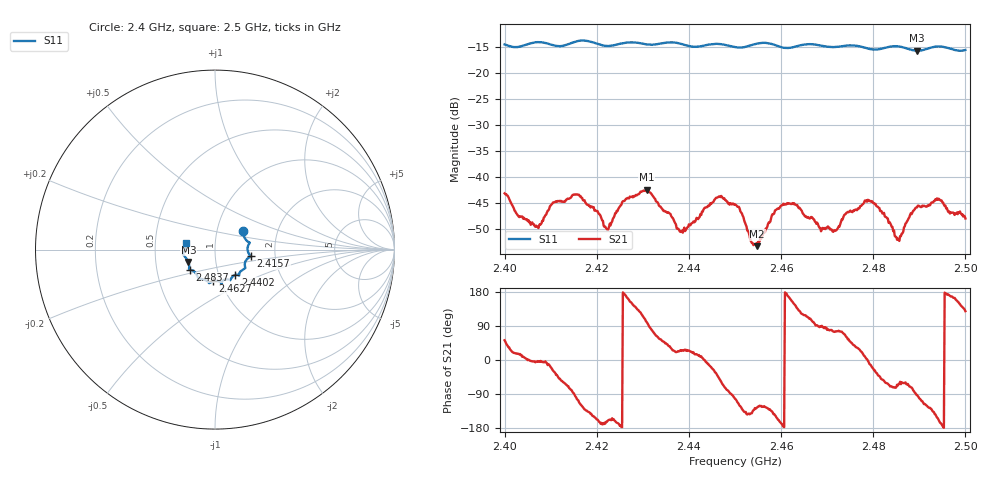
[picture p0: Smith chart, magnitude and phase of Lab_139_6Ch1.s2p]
# Hz S RI R 50
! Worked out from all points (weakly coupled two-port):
!   601 points, 2.4 GHz to 2.5 GHz, reference 50 ohm
!   highest |S21| = -42.47 dB at 2.4308 GHz (marker M1); lowest = -53.4 dB at 2.4548 GHz (marker M2)
!   lowest |S11| = -15.7 dB at 2.4895 GHz (marker M3), VSWR 1.39, Z = 36.8 - j5.16 ohm
!   |S11| at or under -10 dB: start of sweep to end of sweep
!   S12 and S22 are empty: the file has one direction only
!   S11 on the Smith chart (normalised r, x): 2.4 GHz: 1.33, +0.29; 2.4157 GHz: 1.49, -0.11; 2.4402 GHz: 1.20, -0.35; 2.4627 GHz: 0.92, -0.34; 2.4837 GHz: 0.74, -0.17; 2.5 GHz: 0.72, +0.05
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2.4e9  0.1561 0.1055  0.00426 0.00545  0 0  0 0
2.407e9  0.194 0.0393  0.00329 -0.000248  0 0  0 0
2.415667e9  0.1988 -0.0363  -0.00147 -0.00656  0 0  0 0
2.416667e9  0.2016 -0.0397  -0.00311 -0.00544  0 0  0 0
2.422167e9  0.1701 -0.0656  -0.00299 -0.00089  0 0  0 0
2.430833e9  0.1484 -0.116  -0.00133 0.00741  0 0  0 0
2.433333e9  0.1357 -0.1336  0.00281 0.00477  0 0  0 0
2.440167e9  0.1142 -0.1408  0.00312 0.00137  0 0  0 0
2.446167e9  0.085 -0.1707  0.00477 -0.00412  0 0  0 0
2.45e9  0.064 -0.1657  -0.00115 -0.00529  0 0  0 0
2.454833e9  0.0373 -0.1882  -0.00122 -0.00176  0 0  0 0
2.458667e9  0.0319 -0.1832  -0.0039 -0.00267  0 0  0 0
2.462667e9  -0.0116 -0.177  -0.00471 0.00271  0 0  0 0
2.466667e9  -0.0328 -0.1864  -0.000981 0.00396  0 0  0 0
2.471667e9  -0.0644 -0.1655  0.000817 0.00289  0 0  0 0
2.478667e9  -0.1028 -0.1388  0.00574 0.000185  0 0  0 0
2.483333e9  -0.1384 -0.1122  0.00155 -0.00324  0 0  0 0
2.483667e9  -0.1402 -0.112  0.00124 -0.00335  0 0  0 0
2.485667e9  -0.1447 -0.1068  0.00109 -0.00214  0 0  0 0
2.4895e9  -0.1486 -0.0683  -0.000192 -0.00506  0 0  0 0
2.494333e9  -0.1785 -0.0243  -0.00573 -0.00201  0 0  0 0
2.5e9  -0.1625 0.0365  -0.00248 0.00308  0 0  0 0
